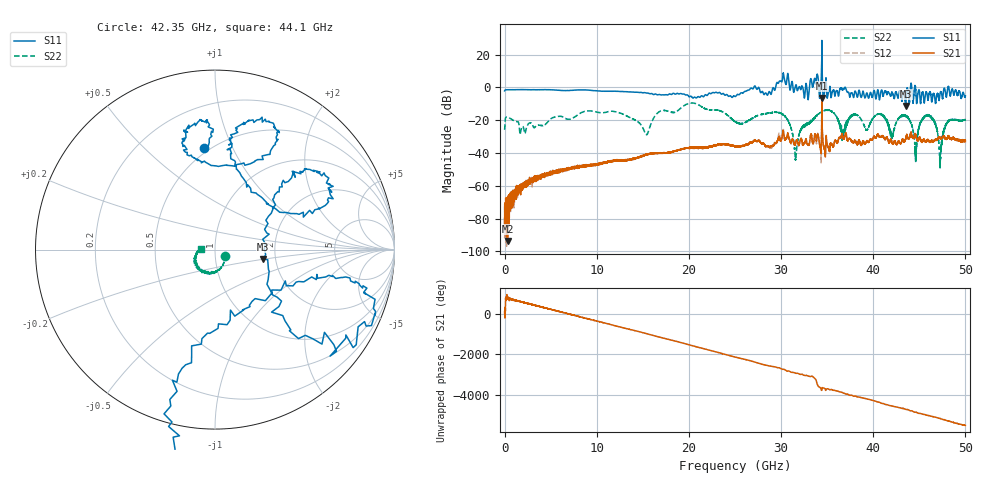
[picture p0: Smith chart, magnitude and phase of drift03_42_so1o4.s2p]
!Created with skrf (http://scikit-rf.org).
# Hz S RI R 50.0
!freq ReS11 ImS11 ReS21 ImS21 ReS12 ImS12 ReS22 ImS22
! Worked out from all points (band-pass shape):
!   10000 points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, 5.3 MHz to 50 GHz, reference 50 ohm
!   highest |S21| = -6.46 dB at 34.43 GHz (marker M1); lowest = -93.6 dB at 330.3 MHz (marker M2)
!   |S21| within 3 dB of the highest: 34.42749 GHz to 34.43454 GHz (7.057 MHz wide, 0.0205 % of centre)
!   lowest |S11| = -11.3 dB at 43.53 GHz (marker M3), VSWR 1.75, Z = 85.7 - j9.65 ohm
!   |S11| at or under -10 dB: 43.49205 GHz to 43.53953 GHz (47.48 MHz wide, 0.109 % of centre)
!   |S22| runs from -49.5 to -9.4 dB; largest |S21 - S12| = 0.14
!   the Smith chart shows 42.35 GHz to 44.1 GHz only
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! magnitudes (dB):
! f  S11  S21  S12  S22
! 5.3 MHz  -2.1  -79.9  -76.1  -25.9
! 330.3 MHz  -1.4  -93.6  -77.4  -18.1
! 2.68 GHz  -1.4  -56.8  -56.8  -21.7
! 8.34 GHz  -1.5  -48.4  -47.8  -15.3
! 15.39 GHz  -3.5  -41.0  -40.9  -28.8
! 16.67 GHz  -4.4  -40.2  -40.1  -15.3
! 20.45 GHz  -6.5  -36.4  -36.7  -9.5
! 25.01 GHz  -5.5  -35.7  -36.0  -20.8
! 29.93 GHz  4.0  -32.6  -31.7  -15.6
! 31.6 GHz  1.5  -33.6  -33.9  -44.5
! 33.34 GHz  2.6  -30.3  -30.5  -20.6
! 34.43 GHz  28.6  -6.5  -8.5  -14.6
! 36.69 GHz  -1.3  -29.9  -29.9  -28.2
! 37.95 GHz  -3.9  -32.6  -32.7  -16.5
! 41.67 GHz  -3.0  -33.3  -33.3  -22.8
! 43.53 GHz  -11.3  -31.1  -31.2  -17.3
! 44.61 GHz  -1.7  -29.2  -29.0  -45.2
! 45.33 GHz  -2.9  -33.2  -33.2  -19.4
! 46.28 GHz  -5.6  -32.8  -33.0  -17.8
! 47.29 GHz  -3.0  -31.0  -30.8  -44.0
! 48.12 GHz  0.3  -30.2  -30.1  -20.7
! 50 GHz  -5.2  -33.0  -32.7  -19.7
